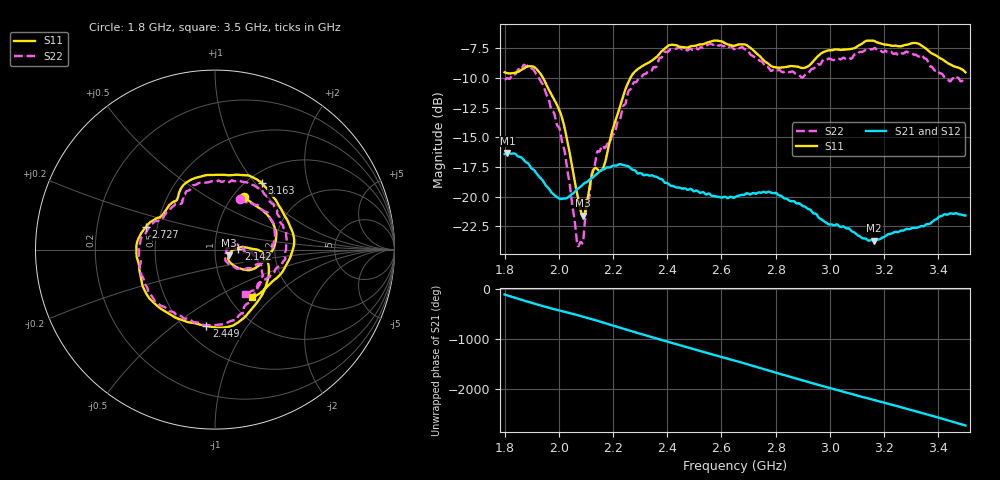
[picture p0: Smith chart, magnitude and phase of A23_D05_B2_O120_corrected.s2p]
! Created with skrf 1.9.0 (http://scikit-rf.org).
# Hz S RI R 50.0
!freq ReS11 ImS11 ReS21 ImS21 ReS12 ImS12 ReS22 ImS22
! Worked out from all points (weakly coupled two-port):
!   1601 points, 1.8 GHz to 3.5 GHz, reference 50 ohm
!   highest |S21| = -16.33 dB at 1.811 GHz (marker M1); lowest = -23.7 dB at 3.163 GHz (marker M2)
!   lowest |S11| = -21.6 dB at 2.09 GHz (marker M3), VSWR 1.18, Z = 58.2 - j3.62 ohm
!   |S11| at or under -10 dB: 1.942 GHz to 2.264 GHz (321.7 MHz wide, 15.3 % of centre)
!   |S22| runs from -24.2 to -7.1 dB; largest |S21 - S12| = 0.0028
!   S11 on the Smith chart (normalised r, x): 1.8 GHz: 1.13, +0.74; 2.142 GHz: 1.30, +0.01; 2.449 GHz: 0.64, -0.67; 2.727 GHz: 0.43, +0.13; 3.163 GHz: 1.16, +1.09; 3.5 GHz: 1.27, -0.75
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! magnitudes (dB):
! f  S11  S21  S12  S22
! 1.8 GHz  -9.5  -16.4  -16.4  -10.1
! 1.811 GHz  -9.6  -16.3  -16.3  -10.0
! 1.886 GHz  -9.0  -17.2  -17.2  -8.9
! 1.941 GHz  -10.0  -18.7  -18.7  -10.6
! 2.013 GHz  -13.4  -20.2  -20.2  -15.5
! 2.067 GHz  -19.7  -19.4  -19.4  -23.8
! 2.084 GHz  -21.4  -19.1  -19.1  -23.9
! 2.09 GHz  -21.6  -19.0  -19.0  -23.7
! 2.125 GHz  -17.9  -18.4  -18.4  -17.8
! 2.142 GHz  -17.7  -18.1  -18.1  -16.2
! 2.167 GHz  -17.4  -17.7  -17.7  -15.9
! 2.264 GHz  -10.0  -17.6  -17.6  -11.0
! 2.367 GHz  -8.1  -18.4  -18.4  -8.5
! 2.449 GHz  -7.4  -19.3  -19.3  -7.5
! 2.65 GHz  -7.3  -20.1  -20.0  -7.5
! 2.727 GHz  -7.9  -19.8  -19.8  -8.3
! 2.798 GHz  -9.1  -19.7  -19.7  -9.3
! 2.934 GHz  -8.7  -21.3  -21.3  -9.2
! 3.163 GHz  -6.9  -23.7  -23.7  -7.5
! 3.217 GHz  -7.2  -23.2  -23.2  -7.8
! 3.325 GHz  -7.1  -22.6  -22.6  -8.2
! 3.5 GHz  -9.5  -21.6  -21.6  -10.5
